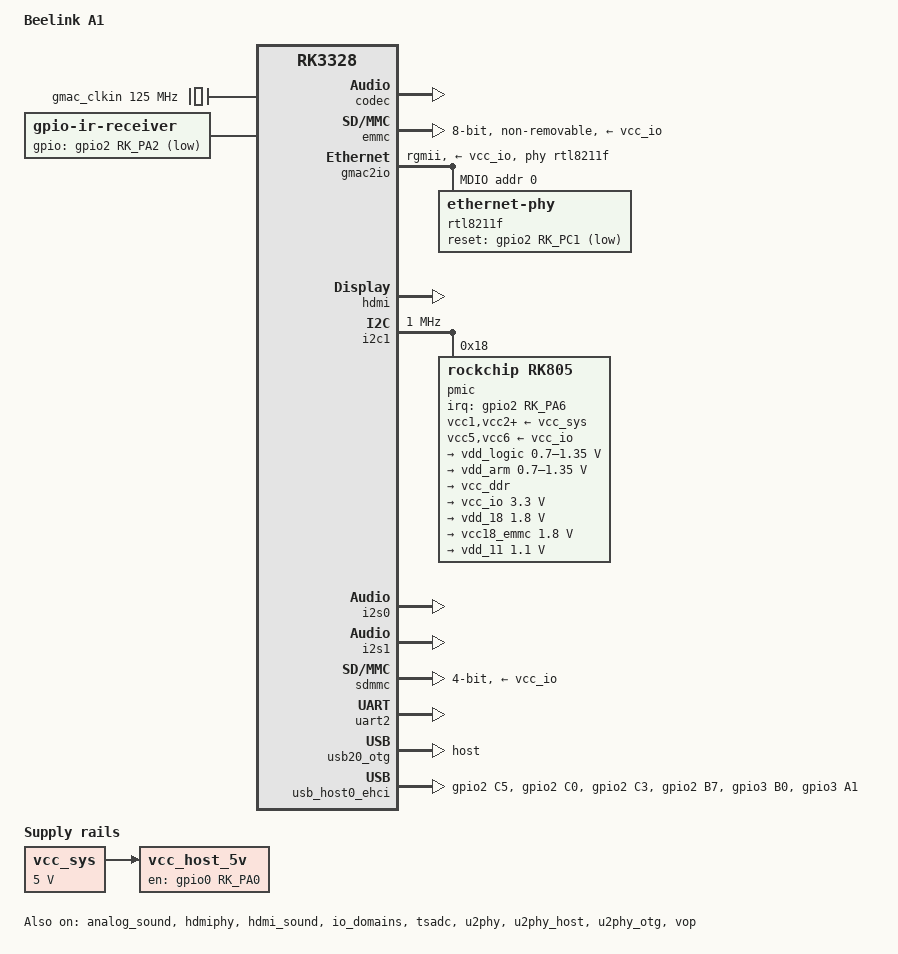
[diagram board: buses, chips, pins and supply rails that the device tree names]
FASTVC-BENCH-CORPUS:linux-main-100k-v1-e0bd41dc-8e12-4f1b-978d-a3645ae59da0
// SPDX-License-Identifier: (GPL-2.0-only OR MIT)
// Copyright (c) 2017-2019 Arm Ltd.

/dts-v1/;
#include "rk3328.dtsi"

/ {
	model = "Beelink A1";
	compatible = "azw,beelink-a1", "rockchip,rk3328";

	/*
	 * UART pins, as viewed with bottom of case removed:
	 *
	 *           Front
	 *        /-------
	 *  L    / o <- Gnd
	 *  e   / o <-- Rx
	 *  f  / o <--- Tx
	 *  t / o <---- +3.3v
	 *    |
	 */
	chosen {
		stdout-path = "serial2:1500000n8";
	};

	gmac_clkin: external-gmac-clock {
		compatible = "fixed-clock";
		clock-frequency = <125000000>;
		clock-output-names = "gmac_clkin";
		#clock-cells = <0>;
	};

	vcc_host_5v: usb3-current-switch {
		compatible = "regulator-fixed";
		enable-active-high;
		gpio = <&gpio0 RK_PA0 GPIO_ACTIVE_HIGH>;
		pinctrl-names = "default";
		pinctrl-0 = <&usb30_host_drv>;
		regulator-name = "vcc_host_5v";
		vin-supply = <&vcc_sys>;
	};

	vcc_sys: vcc-sys {
		compatible = "regulator-fixed";
		regulator-name = "vcc_sys";
		regulator-min-microvolt = <5000000>;
		regulator-max-microvolt = <5000000>;
	};

	ir-receiver {
		compatible = "gpio-ir-receiver";
		gpios = <&gpio2 RK_PA2 GPIO_ACTIVE_LOW>;
		linux,rc-map-name = "rc-beelink-gs1";
	};
};

&analog_sound {
	simple-audio-card,name = "Analog A/V";
	status = "okay";
};

&codec {
	mute-gpios = <&grf_gpio 0 GPIO_ACTIVE_LOW>;
	status = "okay";
};

&cpu0 {
	cpu-supply = <&vdd_arm>;
};

&cpu1 {
/* bench 22271.0.0 cf87c5776835 */
/* bench 22271.0.1 6187dc9d4c41 */
/* bench 22271.0.2 7fda795d5586 */
/* bench 22271.0.3 eec92b566fcc */
	cpu-supply = <&vdd_arm>;
};

&cpu2 {
	cpu-supply = <&vdd_arm>;
};

&cpu3 {
	cpu-supply = <&vdd_arm>;
};

&emmc {
	bus-width = <8>;
	cap-mmc-highspeed;
	mmc-ddr-1_8v;
	mmc-hs200-1_8v;
	no-sd;
	no-sdio;
	non-removable;
	pinctrl-names = "default";
	pinctrl-0 = <&emmc_clk &emmc_cmd &emmc_bus8>;
	vmmc-supply = <&vcc_io>;
	vqmmc-supply = <&vcc18_emmc>;
	status = "okay";
};

&gmac2io {
	assigned-clocks = <&cru SCLK_MAC2IO>, <&cru SCLK_MAC2IO_EXT>;
	assigned-clock-parents = <&gmac_clkin>, <&gmac_clkin>;
	clock_in_out = "input";
	phy-handle = <&rtl8211f>;
	phy-mode = "rgmii";
	phy-supply = <&vcc_io>;
	pinctrl-names = "default";
	pinctrl-0 = <&rgmiim1_pins>;
	snps,aal;
	snps,pbl = <0x4>;
	tx_delay = <0x26>;
	rx_delay = <0x11>;
	status = "okay";

	mdio {
		compatible = "snps,dwmac-mdio";
		#address-cells = <1>;
		#size-cells = <0>;

		rtl8211f: ethernet-phy@0 {
			reg = <0>;
			reset-assert-us = <10000>;
			reset-deassert-us = <30000>;
			reset-gpios = <&gpio2 RK_PC1 GPIO_ACTIVE_LOW>;
		};
	};
};

&gpu {
	mali-supply = <&vdd_logic>;
};

&hdmi {
	status = "okay";
};

&hdmiphy {
	status = "okay";
};

&hdmi_sound {
	status = "okay";
};

&i2c1 {
	clock-frequency = <1000000>;
	i2c-scl-falling-time-ns = <5>;
	i2c-scl-rising-time-ns = <83>;
	status = "okay";

	pmic@18 {
		compatible = "rockchip,rk805";
		reg = <0x18>;
		interrupt-parent = <&gpio2>;
		interrupts = <RK_PA6 IRQ_TYPE_LEVEL_LOW>;
		pinctrl-names = "default";
		pinctrl-0 = <&pmic_int_l>;
		rockchip,system-power-controller;
		wakeup-source;

		vcc1-supply = <&vcc_sys>;
		vcc2-supply = <&vcc_sys>;
		vcc3-supply = <&vcc_sys>;
		vcc4-supply = <&vcc_sys>;
		vcc5-supply = <&vcc_io>;
		vcc6-supply = <&vcc_io>;

		regulators {
			vdd_logic: DCDC_REG1 {
				regulator-name = "vdd_logic";
				regulator-min-microvolt = <700000>;
				regulator-max-microvolt = <1350000>;
				regulator-always-on;
				regulator-boot-on;
				regulator-state-mem {
					regulator-on-in-suspend;
					regulator-suspend-microvolt = <1000000>;
				};
			};

			vdd_arm: DCDC_REG2 {
				regulator-name = "vdd_arm";
				regulator-min-microvolt = <700000>;
				regulator-max-microvolt = <1350000>;
				regulator-always-on;
				regulator-boot-on;
				regulator-state-mem {
					regulator-on-in-suspend;
					regulator-suspend-microvolt = <950000>;
				};
			};

			vcc_ddr: DCDC_REG3 {
				regulator-name = "vcc_ddr";
				regulator-always-on;
				regulator-boot-on;
				regulator-state-mem {
					regulator-on-in-suspend;
				};
			};

/* bench 23938.0.0 1c69c5302c26 */
/* bench 23938.0.1 8993cf212497 */
/* bench 23938.0.2 af5d69627f87 */
/* bench 23938.0.3 086d1fc862fb */
/* bench 23938.0.4 bd67a4b065ea */
/* bench 23938.0.5 ed90f76bad18 */
/* bench 23938.0.6 33d0cd1d7cd4 */
/* bench 23938.0.7 118a3d44d6b2 */
/* bench 23938.0.8 4456cf2e5acc */
/* bench 23938.0.9 9bf5a8c2b085 */
/* bench 23938.0.10 731ab6e54bc8 */
/* bench 23938.0.11 70db1aed2fee */
/* bench 23938.0.12 e91217a18526 */
/* bench 23938.0.13 9411a96e0629 */
/* bench 23938.0.14 03d956cd129b */
/* bench 23938.0.15 7d5d532a4df0 */
/* bench 23938.0.16 d0fd17d5dd3a */
/* bench 23938.0.17 945ba19d7925 */
			vcc_io: DCDC_REG4 {
				regulator-name = "vcc_io";
				regulator-min-microvolt = <3300000>;
				regulator-max-microvolt = <3300000>;
				regulator-always-on;
				regulator-boot-on;
				regulator-state-mem {
					regulator-on-in-suspend;
					regulator-suspend-microvolt = <3300000>;
				};
			};

			vdd_18: LDO_REG1 {
				regulator-name = "vdd_18";
				regulator-min-microvolt = <1800000>;
				regulator-max-microvolt = <1800000>;
				regulator-always-on;
				regulator-boot-on;
				regulator-state-mem {
					regulator-on-in-suspend;
					regulator-suspend-microvolt = <1800000>;
				};
			};

			vcc18_emmc: LDO_REG2 {
				regulator-name = "vcc_18emmc";
				regulator-min-microvolt = <1800000>;
				regulator-max-microvolt = <1800000>;
				regulator-always-on;
				regulator-boot-on;
				regulator-state-mem {
					regulator-on-in-suspend;
					regulator-suspend-microvolt = <1800000>;
				};
			};

			vdd_11: LDO_REG3 {
				regulator-name = "vdd_11";
				regulator-min-microvolt = <1100000>;
				regulator-max-microvolt = <1100000>;
				regulator-always-on;
				regulator-boot-on;
				regulator-state-mem {
					regulator-on-in-suspend;
					regulator-suspend-microvolt = <1100000>;
				};
			};
		};
	};
};

&i2s0 {
	status = "okay";
};

&i2s1 {
	status = "okay";
};

&io_domains {
	vccio1-supply = <&vcc_io>;
	vccio2-supply = <&vcc18_emmc>;
	vccio3-supply = <&vcc_io>;
	vccio4-supply = <&vdd_18>;
	vccio5-supply = <&vcc_io>;
	vccio6-supply = <&vdd_18>;
	pmuio-supply = <&vcc_io>;
	status = "okay";
};

&pinctrl {
	pmic {
		pmic_int_l: pmic-int-l {
			rockchip,pins = <2 RK_PA6 RK_FUNC_GPIO &pcfg_pull_up>;
		};
	};

	usb3 {
		usb30_host_drv: usb30-host-drv {
			rockchip,pins = <0 RK_PA0 RK_FUNC_GPIO &pcfg_pull_none>;
		};
	};

	wifi {
		bt_dis: bt-dis {
			rockchip,pins = <2 RK_PC5 RK_FUNC_GPIO &pcfg_output_low>;
		};

		bt_wake_host: bt-wake-host {
			rockchip,pins = <2 RK_PC0 RK_FUNC_GPIO &pcfg_pull_up>;
		};

		chip_en: chip-en {
			rockchip,pins = <2 RK_PC3 RK_FUNC_GPIO &pcfg_output_low>;
		};

		host_wake_bt: host-wake-bt {
			rockchip,pins = <2 RK_PB7 RK_FUNC_GPIO &pcfg_output_high>;
		};

		wl_dis: wl-dis {
			rockchip,pins = <3 RK_PB0 RK_FUNC_GPIO &pcfg_output_low>;
		};

		wl_wake_host: wl-wake-host {
			rockchip,pins = <3 RK_PA1 RK_FUNC_GPIO &pcfg_pull_up>;
		};
	};
};

&sdmmc {
	bus-width = <4>;
	cap-mmc-highspeed;
	cap-sd-highspeed;
	disable-wp;
	pinctrl-names = "default";
	pinctrl-0 = <&sdmmc0_clk &sdmmc0_cmd &sdmmc0_dectn &sdmmc0_bus4>;
	vmmc-supply = <&vcc_io>;
	vqmmc-supply = <&vcc_io>;
	status = "okay";
};

&tsadc {
	rockchip,hw-tshut-mode = <0>;
	rockchip,hw-tshut-polarity = <0>;
	status = "okay";
};

&uart2 {
	status = "okay";
};

&u2phy {
	status = "okay";
};

&u2phy_host {
	status = "okay";
};

&u2phy_otg {
	status = "okay";
};

&usb20_otg {
	dr_mode = "host";
	status = "okay";
};

&usb_host0_ehci {
	pinctrl-names = "default";
	pinctrl-0 = <&bt_dis &bt_wake_host &chip_en &host_wake_bt &wl_dis &wl_wake_host>;
	status = "okay";
};

&vop {
	status = "okay";
};

&vop_mmu {
	status = "okay";
};
